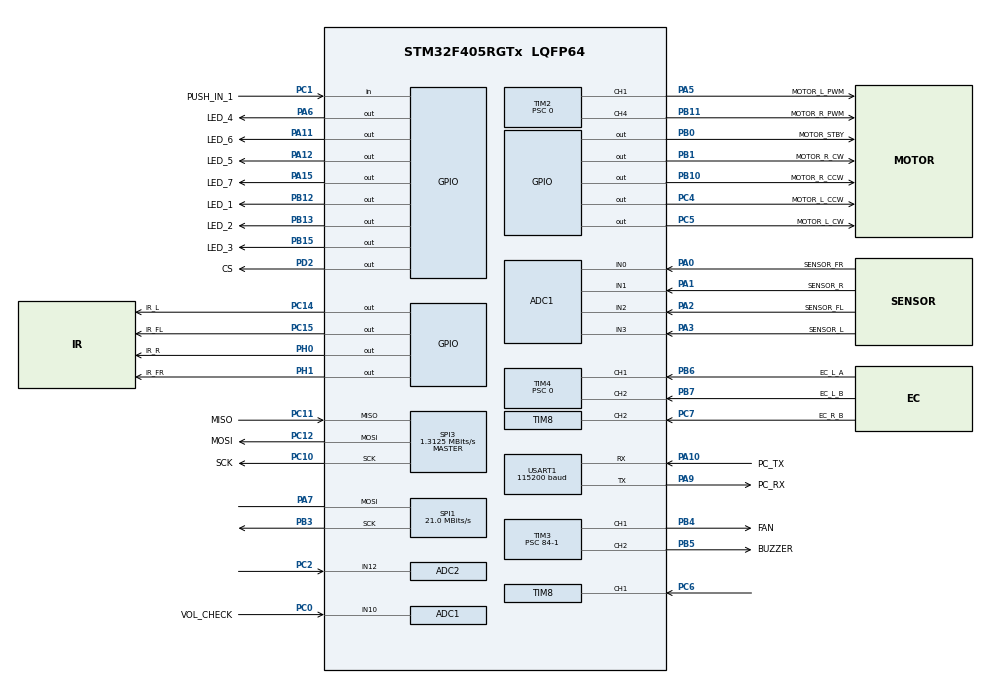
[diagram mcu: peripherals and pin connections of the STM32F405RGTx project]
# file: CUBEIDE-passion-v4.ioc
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ADC1.Channel-0\#ChannelRegularConversion=ADC_CHANNEL_1
ADC1.Channel-1\#ChannelRegularConversion=ADC_CHANNEL_3
ADC1.Channel-2\#ChannelRegularConversion=ADC_CHANNEL_0
ADC1.Channel-3\#ChannelRegularConversion=ADC_CHANNEL_2
ADC1.Channel-4\#ChannelRegularConversion=ADC_CHANNEL_10
ADC1.DMAContinuousRequests=ENABLE
ADC1.DiscontinuousConvMode=DISABLE
ADC1.EOCSelection=ADC_EOC_SEQ_CONV
ADC1.NbrOfConversion=5
ADC1.NbrOfConversionFlag=1
ADC1.Rank-0\#ChannelRegularConversion=1
ADC1.Rank-1\#ChannelRegularConversion=2
ADC1.Rank-2\#ChannelRegularConversion=3
ADC1.Rank-3\#ChannelRegularConversion=4
ADC1.Rank-4\#ChannelRegularConversion=5
ADC1.SamplingTime-0\#ChannelRegularConversion=ADC_SAMPLETIME_15CYCLES
ADC1.SamplingTime-1\#ChannelRegularConversion=ADC_SAMPLETIME_15CYCLES
ADC1.SamplingTime-2\#ChannelRegularConversion=ADC_SAMPLETIME_15CYCLES
ADC1.SamplingTime-3\#ChannelRegularConversion=ADC_SAMPLETIME_15CYCLES
ADC1.SamplingTime-4\#ChannelRegularConversion=ADC_SAMPLETIME_15CYCLES
ADC1.master=1
ADC2.Channel-0\#ChannelRegularConversion=ADC_CHANNEL_12
ADC2.NbrOfConversionFlag=1
ADC2.Rank-0\#ChannelRegularConversion=1
ADC2.SamplingTime-0\#ChannelRegularConversion=ADC_SAMPLETIME_3CYCLES
Dma.ADC1.0.Direction=DMA_PERIPH_TO_MEMORY
Dma.ADC1.0.FIFOMode=DMA_FIFOMODE_DISABLE
Dma.ADC1.0.Instance=DMA2_Stream0
Dma.ADC1.0.MemDataAlignment=DMA_MDATAALIGN_HALFWORD
Dma.ADC1.0.MemInc=DMA_MINC_ENABLE
Dma.ADC1.0.Mode=DMA_CIRCULAR
Dma.ADC1.0.PeriphDataAlignment=DMA_PDATAALIGN_HALFWORD
Dma.ADC1.0.PeriphInc=DMA_PINC_DISABLE
Dma.ADC1.0.Priority=DMA_PRIORITY_LOW
Dma.Request0=ADC1
Mcu.Family=STM32F4
Mcu.Name=STM32F405RGTx
Mcu.Package=LQFP64
NVIC.DMA2_Stream0_IRQn=true\:0\:0\:false\:false\:true\:false\:true\:true
NVIC.PriorityGroup=NVIC_PRIORITYGROUP_4
NVIC.TIM1_BRK_TIM9_IRQn=true\:1\:0\:true\:false\:true\:true\:true\:true
NVIC.TIM5_IRQn=true\:0\:0\:false\:false\:true\:true\:true\:true
PA0-WKUP.GPIO_Label=SENSOR_FR
PA0-WKUP.Signal=ADCx_IN0
PA1.GPIO_Label=SENSOR_R
PA1.Signal=ADCx_IN1
PA10.GPIO_Label=PC_TX
PA10.Mode=Asynchronous
PA10.Signal=USART1_RX
PA11.GPIO_Label=LED_6
PA11.Signal=GPIO_Output
PA12.GPIO_Label=LED_5
PA12.GPIO_PuPd=GPIO_PULLDOWN
PA12.Signal=GPIO_Output
PA13.GPIO_Label=SWDIO
PA13.Signal=SYS_JTMS-SWDIO
PA14.GPIO_Label=SWCL
PA14.Signal=SYS_JTCK-SWCLK
PA15.GPIO_Label=LED_7
PA15.Signal=GPIO_Output
PA2.GPIO_Label=SENSOR_FL
PA2.Signal=ADCx_IN2
PA3.GPIO_Label=SENSOR_L
PA3.Signal=ADCx_IN3
PA5.GPIO_Label=MOTOR_L_PWM
PA5.Signal=S_TIM2_CH1_ETR
PA6.GPIO_Label=LED_4
PA6.Signal=GPIO_Output
PA7.Mode=Simplex_Bidirectional_Master
PA7.Signal=SPI1_MOSI
PA8.GPIO_Label=SCL
PA8.Signal=I2C3_SCL
PA9.GPIO_Label=PC_RX
PA9.Mode=Asynchronous
PA9.Signal=USART1_TX
PB0.GPIO_Label=MOTOR_STBY
PB0.Signal=GPIO_Output
PB1.GPIO_Label=MOTOR_R_CW
PB1.Signal=GPIO_Output
PB10.GPIO_Label=MOTOR_R_CCW
PB10.Signal=GPIO_Output
PB11.GPIO_Label=MOTOR_R_PWM
PB11.Signal=S_TIM2_CH4
PB12.GPIO_Label=LED_1
PB12.Signal=GPIO_Output
PB13.GPIO_Label=LED_2
PB13.GPIO_PuPd=GPIO_PULLDOWN
PB13.Signal=GPIO_Output
PB15.GPIO_Label=LED_3
PB15.Signal=GPIO_Output
PB3.Mode=Simplex_Bidirectional_Master
PB3.Signal=SPI1_SCK
PB4.GPIO_Label=FAN
PB4.Signal=S_TIM3_CH1
PB5.GPIO_Label=BUZZER
PB5.Signal=S_TIM3_CH2
PB6.GPIO_Label=EC_L_A
PB6.Signal=S_TIM4_CH1
PB7.GPIO_Label=EC_L_B
PB7.Signal=S_TIM4_CH2
PC0.GPIO_Label=VOL_CHECK
PC0.Signal=ADCx_IN10
PC1.GPIO_Label=PUSH_IN_1
PC1.Signal=GPIO_Input
PC10.GPIO_Label=SCK
PC10.Mode=Full_Duplex_Master
PC10.Signal=SPI3_SCK
PC11.GPIO_Label=MISO
PC11.Mode=Full_Duplex_Master
PC11.Signal=SPI3_MISO
PC12.GPIO_Label=MOSI
PC12.Mode=Full_Duplex_Master
PC12.Signal=SPI3_MOSI
PC14-OSC32_IN.GPIO_Label=IR_L
PC14-OSC32_IN.Signal=GPIO_Output
PC15-OSC32_OUT.GPIO_Label=IR_FL
PC15-OSC32_OUT.Signal=GPIO_Output
PC2.Signal=ADCx_IN12
PC4.GPIO_Label=MOTOR_L_CCW
PC4.Signal=GPIO_Output
PC5.GPIO_Label=MOTOR_L_CW
PC5.Signal=GPIO_Output
PC6.Signal=S_TIM8_CH1
PC7.GPIO_Label=EC_R_B
PC7.Signal=S_TIM8_CH2
PC9.GPIO_Label=SDA
PC9.Signal=I2C3_SDA
PD2.GPIO_Label=CS
PD2.Signal=GPIO_Output
PH0-OSC_IN.GPIO_Label=IR_R
PH0-OSC_IN.Signal=GPIO_Output
PH1-OSC_OUT.GPIO_Label=IR_FR
PH1-OSC_OUT.Signal=GPIO_Output
ProjectManager.HeapSize=0x200
ProjectManager.StackSize=0x400
ProjectManager.TargetToolchain=STM32CubeIDE
RCC.48MHZClocksFreq_Value=84000000
RCC.AHBFreq_Value=168000000
RCC.APB1CLKDivider=RCC_HCLK_DIV4
RCC.APB1Freq_Value=42000000
RCC.APB1TimFreq_Value=84000000
RCC.APB2CLKDivider=RCC_HCLK_DIV4
RCC.APB2Freq_Value=42000000
RCC.APB2TimFreq_Value=84000000
RCC.CortexFreq_Value=168000000
RCC.HCLKFreq_Value=168000000
RCC.HSE_VALUE=25000000
RCC.HSI_VALUE=16000000
RCC.LSE_VALUE=32768
RCC.PLLM=8
RCC.PLLN=168
RCC.SYSCLKFreq_VALUE=168000000
RCC.SYSCLKSource=RCC_SYSCLKSOURCE_PLLCLK
RCC.VCOOutputFreq_Value=336000000
SH.ADCx_IN0.0=ADC1_IN0,IN0
SH.ADCx_IN1.0=ADC1_IN1,IN1
SH.ADCx_IN10.0=ADC1_IN10,IN10
SH.ADCx_IN12.0=ADC2_IN12,IN12
SH.ADCx_IN2.0=ADC1_IN2,IN2
SH.ADCx_IN3.0=ADC1_IN3,IN3
SH.S_TIM2_CH1_ETR.0=TIM2_CH1,PWM Generation1 CH1
SH.S_TIM2_CH4.0=TIM2_CH4,PWM Generation4 CH4
SH.S_TIM3_CH1.0=TIM3_CH1,PWM Generation1 CH1
SH.S_TIM3_CH2.0=TIM3_CH2,PWM Generation2 CH2
SH.S_TIM4_CH1.0=TIM4_CH1,Encoder_Interface
SH.S_TIM4_CH2.0=TIM4_CH2,Encoder_Interface
SH.S_TIM8_CH1.0=TIM8_CH1,Encoder_Interface
SH.S_TIM8_CH2.0=TIM8_CH2,Encoder_Interface
SPI1.CalculateBaudRate=21.0 MBits/s
SPI1.Direction=SPI_DIRECTION_1LINE
SPI1.Mode=SPI_MODE_MASTER
SPI1.VirtualType=VM_MASTER
SPI3.BaudRatePrescaler=SPI_BAUDRATEPRESCALER_32
SPI3.CalculateBaudRate=1.3125 MBits/s
SPI3.Direction=SPI_DIRECTION_2LINES
SPI3.Mode=SPI_MODE_MASTER
SPI3.VirtualType=VM_MASTER
TIM1.Channel-Output\ Compare1\ No\ Output=TIM_CHANNEL_1
TIM1.Period=1000
TIM1.Prescaler=84-1
TIM2.Channel-PWM\ Generation1\ CH1=TIM_CHANNEL_1
TIM2.Channel-PWM\ Generation4\ CH4=TIM_CHANNEL_4
TIM2.Period=1000
TIM2.Prescaler=0
TIM2.Pulse-PWM\ Generation1\ CH1=0
TIM2.Pulse-PWM\ Generation4\ CH4=0
TIM2.TIM_MasterOutputTrigger=TIM_TRGO_RESET
TIM3.Channel-PWM\ Generation1\ CH1=TIM_CHANNEL_1
TIM3.Channel-PWM\ Generation2\ CH2=TIM_CHANNEL_2
TIM3.Period=1000
TIM3.Prescaler=84-1
TIM3.Pulse-PWM\ Generation2\ CH2=0
TIM4.Channel-Output\ Compare3\ No\ Output=TIM_CHANNEL_3
TIM4.EncoderMode=TIM_ENCODERMODE_TI12
TIM4.Period=60000
TIM4.Prescaler=0
TIM5.Period=1000
TIM5.Prescaler=84-1
TIM8.CounterMode=TIM_COUNTERMODE_UP
TIM8.EncoderMode=TIM_ENCODERMODE_TI12
TIM8.Period=60000
TIM8.Prescaler=0
TIM8.TIM_MasterOutputTrigger=TIM_TRGO_ENABLE
USART1.BaudRate=115200
USART1.VirtualMode=VM_ASYNC
VP_TIM1_VS_ClockSourceINT.Mode=Internal
VP_TIM1_VS_no_output1.Mode=Output Compare1 No Output
VP_TIM2_VS_ClockSourceINT.Mode=Internal
VP_TIM3_VS_ClockSourceINT.Mode=Internal
VP_TIM4_VS_no_output3.Mode=Output Compare3 No Output
VP_TIM5_VS_ClockSourceINT.Mode=Internal
board=custom

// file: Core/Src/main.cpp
/* USER CODE BEGIN Header */
/**
  ******************************************************************************
  * @file           : main.c
  * @brief          : Main program body
  ******************************************************************************
  * @attention
  *
  * Copyright (c) 2024 STMicroelectronics.
  * All rights reserved.
  *
  * This software is licensed under terms that can be found in the LICENSE file
  * in the root directory of this software component.
  * If no LICENSE file comes with this software, it is provided AS-IS.
  *
  ******************************************************************************
  */
/* USER CODE END Header */
//#include "main.h"

/* USER CODE BEGIN Includes */
#include <iostream>
#include "peripheral.h"
#include "stdout.h"
#include <pxstr_creater.h>
//#include "printf.h"
/* USER CODE END Includes */

int main(int argc, char** argv)
{

  /* MCU Configuration--------------------------------------------------------*/

  /* Reset of all peripherals, Initializes the Flash interface and the Systick. */
  HAL_Init();

  /* Configure the system clock */
  SystemClock_Config();

  /* Initialize all configured peripherals */
  MX_GPIO_Init();
  MX_DMA_Init();
  MX_ADC1_Init();
  MX_USART1_UART_Init();
  MX_TIM2_Init();
  MX_TIM3_Init();
  MX_TIM4_Init();
  MX_TIM8_Init();
  MX_SPI1_Init();
  MX_TIM5_Init();
  MX_SPI3_Init();
  MX_TIM1_Init();
  MX_ADC2_Init();
  /* USER CODE BEGIN 2 */
  printf("hello_c\n");
  std::cout << "hello_c++" << std::endl;

  //std::unique_ptr<adc::Driver> adc1 = std::make_unique<adc::Driver>();

  std::unique_ptr<pxstr::Creater> pxstr_c = std::make_unique<pxstr::Creater>();
  std::unique_ptr<pxstr::Product> pxstr = pxstr_c->Create();
  pxstr->Init();
  WallParameter* wp;
  //cout << adc.get_val() << endl;
  //uint16_t adc_buff[5];
  /* USER CODE END 2 */

  /* Infinite loop */
  /* USER CODE BEGIN WHILE */
  while (1)
  {
  pxstr -> ReadVal();
  wp = pxstr -> get_photo_ptr();
  std::cout << "L: " << wp->dir[static_cast<int>(DIR::L)] << std::endl;
  std::cout << "FL: " << wp->dir[static_cast<int>(DIR::FL)] << std::endl;
  std::cout << "R: " << wp->dir[static_cast<int>(DIR::R)] << std::endl;
  std::cout << "FR: " << wp->dir[static_cast<int>(DIR::FR)] << std::endl;
    /* USER CODE END WHILE */
	//adc1->ReadVal(&hadc1, 1);
	//std::cout << adc1->get_val() << std::endl;
	//adc1.ReadAdcValue(&hadc1, 1);
	//adc2.ReadAdcValue(&hadc1, 2);
	//adc3.ReadAdcValue(&hadc1, 3);
	HAL_Delay(5*100);
  }
}

void Error_Handler(void)
{
  __disable_irq();
  while (1)
  {
  }
}
